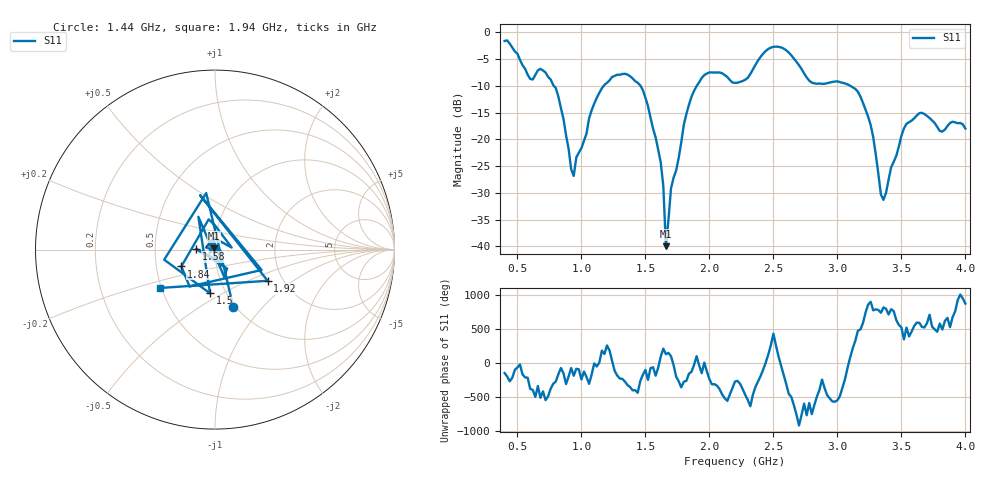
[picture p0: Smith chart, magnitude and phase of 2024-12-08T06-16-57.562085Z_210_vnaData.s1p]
!Created with skrf (http://scikit-rf.org).
# Hz S RI R 50.0
!freq ReS11 ImS11
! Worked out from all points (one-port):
!   181 points, 400 MHz to 4 GHz, reference 50 ohm
!   lowest |S11| = -40.0 dB at 1.66 GHz (marker M1), VSWR 1.02, Z = 49.3 + j0.702 ohm
!   |S11| at or under -10 dB: 784.6 MHz to 1.174 GHz (389.8 MHz wide, 39.8 % of centre); 1.462 GHz to 1.901 GHz (439.8 MHz wide, 26.2 % of centre); 3.1 GHz to end of sweep
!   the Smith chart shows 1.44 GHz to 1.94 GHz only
!   S11 on the Smith chart (normalised r, x): 1.44 GHz: 0.98, -0.71; 1.5 GHz: 0.84, -0.44; 1.58 GHz: 0.81, +0.00; 1.84 GHz: 0.67, -0.13; 1.92 GHz: 1.67, -0.66; 1.94 GHz: 0.49, -0.24
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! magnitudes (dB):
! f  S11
! 400 MHz  -1.6
! 600 MHz  -8.7
! 720 MHz  -7.5
! 800 MHz  -10.4
! 860 MHz  -16.2
! 940 MHz  -26.9
! 1.12 GHz  -12.2
! 1.3 GHz  -7.9
! 1.44 GHz  -9.4
! 1.5 GHz  -12.2
! 1.58 GHz  -19.7
! 1.64 GHz  -28.7
! 1.66 GHz  -40.0
! 1.7 GHz  -29.2
! 1.76 GHz  -23.5
! 1.84 GHz  -13.6
! 1.92 GHz  -9.3
! 1.94 GHz  -8.5
! 2.2 GHz  -9.5
! 2.48 GHz  -2.9
! 2.66 GHz  -4.9
! 2.8 GHz  -9.4
! 3.1 GHz  -10.0
! 3.26 GHz  -17.3
! 3.36 GHz  -31.3
! 3.56 GHz  -16.8
! 3.66 GHz  -15.0
! 4 GHz  -18.0
